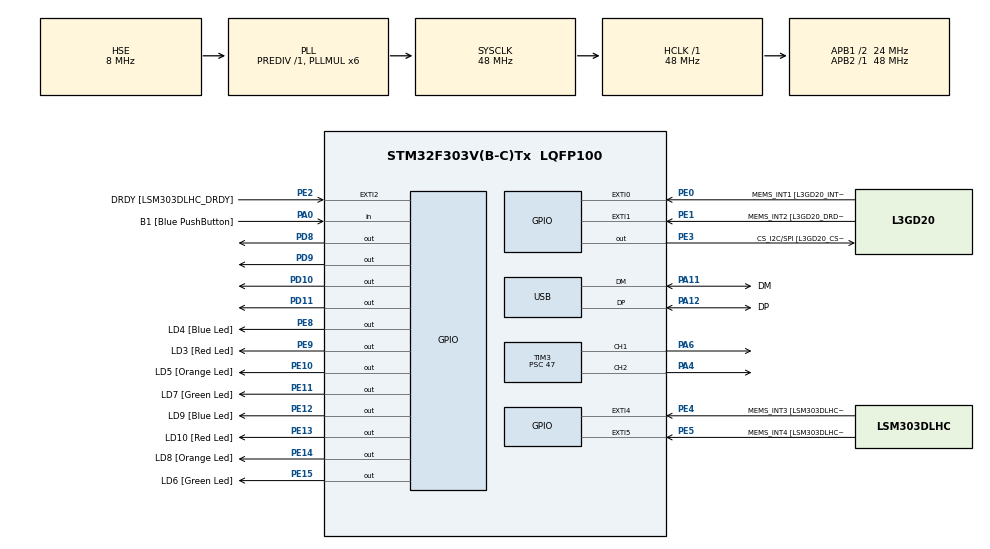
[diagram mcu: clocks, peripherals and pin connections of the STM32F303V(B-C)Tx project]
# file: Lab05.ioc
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Mcu.Family=STM32F3
Mcu.Name=STM32F303V(B-C)Tx
Mcu.Package=LQFP100
NVIC.PriorityGroup=NVIC_PRIORITYGROUP_0
PA0.GPIO_Label=B1 [Blue PushButton]
PA0.Signal=GPIO_Input
PA11.GPIO_Label=DM
PA11.Mode=Device
PA11.Signal=USB_DM
PA12.GPIO_Label=DP
PA12.Mode=Device
PA12.Signal=USB_DP
PA13.GPIO_Label=SWDIO
PA13.Mode=Serial_Wire
PA13.Signal=SYS_JTMS-SWDIO
PA14.GPIO_Label=SWCLK
PA14.Mode=Serial_Wire
PA14.Signal=SYS_JTCK-SWCLK
PA4.Signal=S_TIM3_CH2
PA5.GPIO_Label=SPI1_SCK [L3GD20_SCL/SPC]
PA5.Signal=SPI1_SCK
PA6.Signal=S_TIM3_CH1
PB3.GPIO_Label=SWO
PB3.Signal=SYS_JTDO-TRACESWO
PB6.GPIO_Label=I2C1_SCL [LSM303DLHC_SCL]
PB6.GPIO_Pu=GPIO_PULLUP
PB6.Signal=I2C1_SCL
PC14-OSC32_IN.GPIO_Label=OSC32_IN
PC14-OSC32_IN.Signal=RCC_OSC32_IN
PC15-OSC32_OUT.GPIO_Label=OSC32_OUT
PC15-OSC32_OUT.Signal=RCC_OSC32_OUT
PD10.Signal=GPIO_Output
PD11.Signal=GPIO_Output
PD8.Signal=GPIO_Output
PD9.Signal=GPIO_Output
PE0.GPIO_Label=MEMS_INT1 [L3GD20_INT1]
PE0.GPIO_ModeDefaultEXTI=GPIO_MODE_EVT_RISING
PE0.Signal=GPXTI0
PE1.GPIO_Label=MEMS_INT2 [L3GD20_DRDY/INT2]
PE1.GPIO_ModeDefaultEXTI=GPIO_MODE_EVT_RISING
PE1.Signal=GPXTI1
PE10.GPIO_Label=LD5 [Orange Led]
PE10.Signal=GPIO_Output
PE11.GPIO_Label=LD7 [Green Led]
PE11.Signal=GPIO_Output
PE12.GPIO_Label=LD9 [Blue Led]
PE12.Signal=GPIO_Output
PE13.GPIO_Label=LD10 [Red Led]
PE13.Signal=GPIO_Output
PE14.GPIO_Label=LD8 [Orange Led]
PE14.Signal=GPIO_Output
PE15.GPIO_Label=LD6 [Green Led]
PE15.Signal=GPIO_Output
PE2.GPIO_Label=DRDY [LSM303DLHC_DRDY]
PE2.GPIO_ModeDefaultEXTI=GPIO_MODE_EVT_RISING
PE2.Signal=GPXTI2
PE3.GPIO_Label=CS_I2C/SPI [L3GD20_CS_I2C/SPI]
PE3.Signal=GPIO_Output
PE4.GPIO_Label=MEMS_INT3 [LSM303DLHC_INT1]
PE4.GPIO_ModeDefaultEXTI=GPIO_MODE_EVT_RISING
PE4.Signal=GPXTI4
PE5.GPIO_Label=MEMS_INT4 [LSM303DLHC_INT2]
PE5.GPIO_ModeDefaultEXTI=GPIO_MODE_EVT_RISING
PE5.Signal=GPXTI5
PE8.GPIO_Label=LD4 [Blue Led]
PE8.Signal=GPIO_Output
PE9.GPIO_Label=LD3 [Red Led]
PE9.Signal=GPIO_Output
PF0-OSC_IN.GPIO_Label=OSC_IN
PF0-OSC_IN.Mode=HSE-External-Clock-Source
PF0-OSC_IN.Signal=RCC_OSC_IN
PF1-OSC_OUT.GPIO_Label=OSC_OUT
PF1-OSC_OUT.Signal=RCC_OSC_OUT
ProjectManager.HeapSize=0x200
ProjectManager.StackSize=0x400
ProjectManager.TargetToolchain=CMake
RCC.AHBFreq_Value=48000000
RCC.APB1CLKDivider=RCC_HCLK_DIV2
RCC.APB1Freq_Value=24000000
RCC.APB1TimFreq_Value=48000000
RCC.APB2Freq_Value=48000000
RCC.APB2TimFreq_Value=48000000
RCC.CortexFreq_Value=48000000
RCC.HCLKFreq_Value=48000000
RCC.HSE_VALUE=8000000
RCC.HSI_VALUE=8000000
RCC.LSE_VALUE=32768
RCC.PLLMUL=RCC_PLL_MUL6
RCC.SYSCLKFreq_VALUE=48000000
RCC.SYSCLKSourceVirtual=RCC_SYSCLKSOURCE_PLLCLK
RCC.USBFreq_Value=48000000
SH.S_TIM3_CH1.0=TIM3_CH1,PWM Generation1 CH1
SH.S_TIM3_CH2.0=TIM3_CH2,PWM Generation2 CH2
TIM3.Channel-PWM\ Generation1\ CH1=TIM_CHANNEL_1
TIM3.Channel-PWM\ Generation2\ CH2=TIM_CHANNEL_2
TIM3.Period=999
TIM3.Prescaler=47
TIM3.Pulse-PWM\ Generation1\ CH1=999
TIM3.Pulse-PWM\ Generation2\ CH2=999
board=STM32F3DISCOVERY

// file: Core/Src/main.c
/* USER CODE BEGIN Header */
/**
  ******************************************************************************
  * @file           : main.c
  * @brief          : Main program body
  ******************************************************************************
  * @attention
  *
  * Copyright (c) 2026 STMicroelectronics.
  * All rights reserved.
  *
  * This software is licensed under terms that can be found in the LICENSE file
  * in the root directory of this software component.
  * If no LICENSE file comes with this software, it is provided AS-IS.
  *
  ******************************************************************************
  */
/* USER CODE END Header */
#include "main.h"

TIM_HandleTypeDef htim3;

PCD_HandleTypeDef hpcd_USB_FS;

/* USER CODE BEGIN PV */

//task1
// void SystemClock_Config(void);
// static void MX_GPIO_Init(void);
// static void MX_I2C1_Init(void);
// static void MX_TIM3_Init(void);
// static void MX_USB_PCD_Init(void);

//task2
static uint16_t speed_to_ccr(uint8_t speed)
{
  return (uint16_t)((speed * 1000)/255); //gpt says 255
}

static void RightMotor_Forward(uint8_t speed)
{
  HAL_GPIO_WritePin(GPIOD, GPIO_PIN_8, GPIO_PIN_SET);
  HAL_GPIO_WritePin(GPIOD, GPIO_PIN_9, GPIO_PIN_RESET);
  __HAL_TIM_SET_COMPARE(&htim3, TIM_CHANNEL_1, speed_to_ccr(speed));
}

static void RightMotor_Backward(uint8_t speed)
{
  HAL_GPIO_WritePin(GPIOD, GPIO_PIN_8, GPIO_PIN_RESET);
  HAL_GPIO_WritePin(GPIOD, GPIO_PIN_9, GPIO_PIN_SET);
  __HAL_TIM_SET_COMPARE(&htim3, TIM_CHANNEL_1, speed_to_ccr(speed));
}

static void RightMotor_Stop(void)
{
  HAL_GPIO_WritePin(GPIOD, GPIO_PIN_8, GPIO_PIN_SET);
  HAL_GPIO_WritePin(GPIOD, GPIO_PIN_9, GPIO_PIN_SET);
  __HAL_TIM_SET_COMPARE(&htim3, TIM_CHANNEL_1, 0);
}

static void LeftMotor_Forward(uint8_t speed)
{
  HAL_GPIO_WritePin(GPIOD, GPIO_PIN_10, GPIO_PIN_SET);
  HAL_GPIO_WritePin(GPIOD, GPIO_PIN_11, GPIO_PIN_RESET);
  __HAL_TIM_SET_COMPARE(&htim3, TIM_CHANNEL_2, speed_to_ccr(speed));
}

static void LeftMotor_Backward(uint8_t speed)
{
  HAL_GPIO_WritePin(GPIOD, GPIO_PIN_10, GPIO_PIN_RESET);
  HAL_GPIO_WritePin(GPIOD, GPIO_PIN_11, GPIO_PIN_SET);
  __HAL_TIM_SET_COMPARE(&htim3, TIM_CHANNEL_2, speed_to_ccr(speed));
}

static void LeftMotor_Stop(void)
{
  HAL_GPIO_WritePin(GPIOD, GPIO_PIN_10, GPIO_PIN_SET);
  HAL_GPIO_WritePin(GPIOD, GPIO_PIN_11, GPIO_PIN_SET);
  __HAL_TIM_SET_COMPARE(&htim3, TIM_CHANNEL_2, 0);
}

/* USER CODE END PV */

void SystemClock_Config(void);
static void MX_GPIO_Init(void);
static void MX_TIM3_Init(void);
static void MX_USB_PCD_Init(void);

int main(void)
{

  /* MCU Configuration--------------------------------------------------------*/

  /* Reset of all peripherals, Initializes the Flash interface and the Systick. */
  HAL_Init();

  /* Configure the system clock */
  SystemClock_Config();

  /* Initialize all configured peripherals */
  MX_GPIO_Init();
  MX_TIM3_Init();
  MX_USB_PCD_Init();
  /* USER CODE BEGIN 2 */

  //TASK 2
  HAL_TIM_PWM_Start(&htim3, TIM_CHANNEL_1);
  HAL_TIM_PWM_Start(&htim3, TIM_CHANNEL_2);
  //HAL_TIM_PWM_Start(&htim3, TIM_CHANNEL_2);

  /* USER CODE END 2 */

  /* Infinite loop */
  while (1)
  {

    /* USER CODE BEGIN 3 */

    // TASK 1
    // for (uint32_t ccr = 0; ccr <= 999; ccr += 10)
    // {
    // __HAL_TIM_SET_COMPARE(&htim3, TIM_CHANNEL_1, ccr);
    // HAL_Delay(10);
    // }
    // for (uint32_t ccr = 999; ccr > 0; ccr -= 10)
    // {
    // __HAL_TIM_SET_COMPARE(&htim3, TIM_CHANNEL_1, ccr);
    // HAL_Delay(10);
    // }

    //TASK 2
    RightMotor_Forward(150);
    LeftMotor_Forward(150);
    HAL_Delay(2000);

    RightMotor_Stop();
    LeftMotor_Stop();
    HAL_Delay(1500);

    RightMotor_Backward(150);
    LeftMotor_Backward(150);
    HAL_Delay(2000);

    RightMotor_Stop();
    LeftMotor_Stop();
    HAL_Delay(1500);
  }
  /* USER CODE END 3 */
}

void SystemClock_Config(void)
{
  RCC_OscInitTypeDef RCC_OscInitStruct = {0};
  RCC_ClkInitTypeDef RCC_ClkInitStruct = {0};
  RCC_PeriphCLKInitTypeDef PeriphClkInit = {0};

  /** Initializes the RCC Oscillators according to the specified parameters
  * in the RCC_OscInitTypeDef structure.
  */
  RCC_OscInitStruct.OscillatorType = RCC_OSCILLATORTYPE_HSE;
  RCC_OscInitStruct.HSEState = RCC_HSE_BYPASS;
  RCC_OscInitStruct.HSEPredivValue = RCC_HSE_PREDIV_DIV1;
  RCC_OscInitStruct.HSIState = RCC_HSI_ON;
  RCC_OscInitStruct.PLL.PLLState = RCC_PLL_ON;
  RCC_OscInitStruct.PLL.PLLSource = RCC_PLLSOURCE_HSE;
  RCC_OscInitStruct.PLL.PLLMUL = RCC_PLL_MUL6;
  if (HAL_RCC_OscConfig(&RCC_OscInitStruct) != HAL_OK)
  {
    Error_Handler();
  }

  /** Initializes the CPU, AHB and APB buses clocks
  */
  RCC_ClkInitStruct.ClockType = RCC_CLOCKTYPE_HCLK|RCC_CLOCKTYPE_SYSCLK
                              |RCC_CLOCKTYPE_PCLK1|RCC_CLOCKTYPE_PCLK2;
  RCC_ClkInitStruct.SYSCLKSource = RCC_SYSCLKSOURCE_PLLCLK;
  RCC_ClkInitStruct.AHBCLKDivider = RCC_SYSCLK_DIV1;
  RCC_ClkInitStruct.APB1CLKDivider = RCC_HCLK_DIV2;
  RCC_ClkInitStruct.APB2CLKDivider = RCC_HCLK_DIV1;

  if (HAL_RCC_ClockConfig(&RCC_ClkInitStruct, FLASH_LATENCY_1) != HAL_OK)
  {
    Error_Handler();
  }
  PeriphClkInit.PeriphClockSelection = RCC_PERIPHCLK_USB;
  PeriphClkInit.USBClockSelection = RCC_USBCLKSOURCE_PLL;
  if (HAL_RCCEx_PeriphCLKConfig(&PeriphClkInit) != HAL_OK)
  {
    Error_Handler();
  }
}

static void MX_TIM3_Init(void)
{

  TIM_MasterConfigTypeDef sMasterConfig = {0};
  TIM_OC_InitTypeDef sConfigOC = {0};

  htim3.Instance = TIM3;
  htim3.Init.Prescaler = 47;
  htim3.Init.CounterMode = TIM_COUNTERMODE_UP;
  htim3.Init.Period = 999;
  htim3.Init.ClockDivision = TIM_CLOCKDIVISION_DIV1;
  htim3.Init.AutoReloadPreload = TIM_AUTORELOAD_PRELOAD_DISABLE;
  if (HAL_TIM_PWM_Init(&htim3) != HAL_OK)
  {
    Error_Handler();
  }
  sMasterConfig.MasterOutputTrigger = TIM_TRGO_RESET;
  sMasterConfig.MasterSlaveMode = TIM_MASTERSLAVEMODE_DISABLE;
  if (HAL_TIMEx_MasterConfigSynchronization(&htim3, &sMasterConfig) != HAL_OK)
  {
    Error_Handler();
  }
  sConfigOC.OCMode = TIM_OCMODE_PWM1;
  sConfigOC.Pulse = 999;
  sConfigOC.OCPolarity = TIM_OCPOLARITY_HIGH;
  sConfigOC.OCFastMode = TIM_OCFAST_DISABLE;
  if (HAL_TIM_PWM_ConfigChannel(&htim3, &sConfigOC, TIM_CHANNEL_1) != HAL_OK)
  {
    Error_Handler();
  }
  if (HAL_TIM_PWM_ConfigChannel(&htim3, &sConfigOC, TIM_CHANNEL_2) != HAL_OK)
  {
    Error_Handler();
  }
  HAL_TIM_MspPostInit(&htim3);

}

static void MX_USB_PCD_Init(void)
{

  hpcd_USB_FS.Instance = USB;
  hpcd_USB_FS.Init.dev_endpoints = 8;
  hpcd_USB_FS.Init.speed = PCD_SPEED_FULL;
  hpcd_USB_FS.Init.phy_itface = PCD_PHY_EMBEDDED;
  hpcd_USB_FS.Init.low_power_enable = DISABLE;
  hpcd_USB_FS.Init.battery_charging_enable = DISABLE;
  if (HAL_PCD_Init(&hpcd_USB_FS) != HAL_OK)
  {
    Error_Handler();
  }

}

static void MX_GPIO_Init(void)
{
  GPIO_InitTypeDef GPIO_InitStruct = {0};

  /* GPIO Ports Clock Enable */
  __HAL_RCC_GPIOE_CLK_ENABLE();
  __HAL_RCC_GPIOC_CLK_ENABLE();
  __HAL_RCC_GPIOF_CLK_ENABLE();
  __HAL_RCC_GPIOA_CLK_ENABLE();
  __HAL_RCC_GPIOD_CLK_ENABLE();
  __HAL_RCC_GPIOB_CLK_ENABLE();

  /*Configure GPIO pin Output Level */
  HAL_GPIO_WritePin(GPIOE, CS_I2C_SPI_Pin|LD4_Pin|LD3_Pin|LD5_Pin
                          |LD7_Pin|LD9_Pin|LD10_Pin|LD8_Pin
                          |LD6_Pin, GPIO_PIN_RESET);

  /*Configure GPIO pin Output Level */
  HAL_GPIO_WritePin(GPIOD, GPIO_PIN_8|GPIO_PIN_9|GPIO_PIN_10|GPIO_PIN_11, GPIO_PIN_RESET);

  /*Configure GPIO pins : DRDY_Pin MEMS_INT3_Pin MEMS_INT4_Pin MEMS_INT1_Pin
                           MEMS_INT2_Pin */
  GPIO_InitStruct.Pin = DRDY_Pin|MEMS_INT3_Pin|MEMS_INT4_Pin|MEMS_INT1_Pin
                          |MEMS_INT2_Pin;
  GPIO_InitStruct.Mode = GPIO_MODE_EVT_RISING;
  GPIO_InitStruct.Pull = GPIO_NOPULL;
  HAL_GPIO_Init(GPIOE, &GPIO_InitStruct);

  /*Configure GPIO pins : CS_I2C_SPI_Pin LD4_Pin LD3_Pin LD5_Pin
                           LD7_Pin LD9_Pin LD10_Pin LD8_Pin
                           LD6_Pin */
  GPIO_InitStruct.Pin = CS_I2C_SPI_Pin|LD4_Pin|LD3_Pin|LD5_Pin
                          |LD7_Pin|LD9_Pin|LD10_Pin|LD8_Pin
                          |LD6_Pin;
  GPIO_InitStruct.Mode = GPIO_MODE_OUTPUT_PP;
  GPIO_InitStruct.Pull = GPIO_NOPULL;
  GPIO_InitStruct.Speed = GPIO_SPEED_FREQ_LOW;
  HAL_GPIO_Init(GPIOE, &GPIO_InitStruct);

  /*Configure GPIO pin : B1_Pin */
  GPIO_InitStruct.Pin = B1_Pin;
  GPIO_InitStruct.Mode = GPIO_MODE_INPUT;
  GPIO_InitStruct.Pull = GPIO_NOPULL;
  HAL_GPIO_Init(B1_GPIO_Port, &GPIO_InitStruct);

  /*Configure GPIO pin : SPI1_SCK_Pin */
  GPIO_InitStruct.Pin = SPI1_SCK_Pin;
  GPIO_InitStruct.Mode = GPIO_MODE_AF_PP;
  GPIO_InitStruct.Pull = GPIO_NOPULL;
  GPIO_InitStruct.Speed = GPIO_SPEED_FREQ_HIGH;
  GPIO_InitStruct.Alternate = GPIO_AF5_SPI1;
  HAL_GPIO_Init(SPI1_SCK_GPIO_Port, &GPIO_InitStruct);

  /*Configure GPIO pins : PD8 PD9 PD10 PD11 */
  GPIO_InitStruct.Pin = GPIO_PIN_8|GPIO_PIN_9|GPIO_PIN_10|GPIO_PIN_11;
  GPIO_InitStruct.Mode = GPIO_MODE_OUTPUT_PP;
  GPIO_InitStruct.Pull = GPIO_NOPULL;
  GPIO_InitStruct.Speed = GPIO_SPEED_FREQ_LOW;
  HAL_GPIO_Init(GPIOD, &GPIO_InitStruct);

  /*Configure GPIO pin : I2C1_SCL_Pin */
  GPIO_InitStruct.Pin = I2C1_SCL_Pin;
  GPIO_InitStruct.Mode = GPIO_MODE_AF_OD;
  GPIO_InitStruct.Pull = GPIO_PULLUP;
  GPIO_InitStruct.Speed = GPIO_SPEED_FREQ_HIGH;
  GPIO_InitStruct.Alternate = GPIO_AF4_I2C1;
  HAL_GPIO_Init(I2C1_SCL_GPIO_Port, &GPIO_InitStruct);

}

void Error_Handler(void)
{
  __disable_irq();
  while (1)
  {
  }
}
